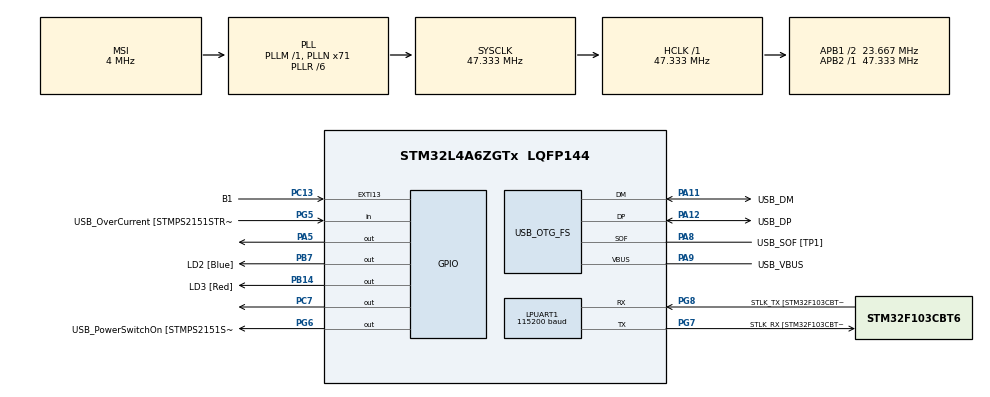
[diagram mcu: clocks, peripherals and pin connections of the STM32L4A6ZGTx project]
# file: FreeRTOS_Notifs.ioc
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Dma.LPUART_RX.0.Direction=DMA_PERIPH_TO_MEMORY
Dma.LPUART_RX.0.Instance=DMA2_Channel7
Dma.LPUART_RX.0.MemDataAlignment=DMA_MDATAALIGN_BYTE
Dma.LPUART_RX.0.MemInc=DMA_MINC_ENABLE
Dma.LPUART_RX.0.Mode=DMA_NORMAL
Dma.LPUART_RX.0.PeriphDataAlignment=DMA_PDATAALIGN_BYTE
Dma.LPUART_RX.0.PeriphInc=DMA_PINC_DISABLE
Dma.LPUART_RX.0.Priority=DMA_PRIORITY_LOW
Dma.LPUART_TX.1.Direction=DMA_MEMORY_TO_PERIPH
Dma.LPUART_TX.1.Instance=DMA2_Channel6
Dma.LPUART_TX.1.MemDataAlignment=DMA_MDATAALIGN_BYTE
Dma.LPUART_TX.1.MemInc=DMA_MINC_ENABLE
Dma.LPUART_TX.1.Mode=DMA_NORMAL
Dma.LPUART_TX.1.PeriphDataAlignment=DMA_PDATAALIGN_BYTE
Dma.LPUART_TX.1.PeriphInc=DMA_PINC_DISABLE
Dma.LPUART_TX.1.Priority=DMA_PRIORITY_LOW
Dma.Request0=LPUART_RX
Dma.Request1=LPUART_TX
FREERTOS.Tasks01=defaultTask,8,128,StartDefaultTask,Default,NULL,Dynamic,NULL,NULL;myTask02,24,128,StartTask02,Default,NULL,Dynamic,NULL,NULL
LPUART1.AutoBaudRateEnableParam=UART_ADVFEATURE_AUTOBAUDRATE_DISABLE
LPUART1.BaudRate=115200
LPUART1.DMADisableonRxErrorParam=UART_ADVFEATURE_DMA_ENABLEONRXERROR
LPUART1.DataInvertParam=UART_ADVFEATURE_DATAINV_DISABLE
LPUART1.MSBFirstParam=UART_ADVFEATURE_MSBFIRST_DISABLE
LPUART1.Mode=UART_MODE_TX_RX
LPUART1.OneBitSampling=UART_ONE_BIT_SAMPLE_DISABLE
LPUART1.OverrunDisableParam=UART_ADVFEATURE_OVERRUN_ENABLE
LPUART1.Parity=UART_PARITY_NONE
LPUART1.RxPinLevelInvertParam=UART_ADVFEATURE_RXINV_DISABLE
LPUART1.StopBits=UART_STOPBITS_2
LPUART1.SwapParam=UART_ADVFEATURE_SWAP_DISABLE
LPUART1.TxPinLevelInvertParam=UART_ADVFEATURE_TXINV_DISABLE
LPUART1.WordLength=UART_WORDLENGTH_8B
Mcu.Family=STM32L4
Mcu.Name=STM32L4A6ZGTx
Mcu.Package=LQFP144
NVIC.DMA2_Channel6_IRQn=true\:5\:0\:false\:false\:true\:true\:false\:true\:true
NVIC.DMA2_Channel7_IRQn=true\:5\:0\:false\:false\:true\:true\:false\:true\:true
NVIC.LPUART1_IRQn=true\:5\:0\:false\:false\:true\:true\:true\:true\:true
NVIC.PriorityGroup=NVIC_PRIORITYGROUP_4
NVIC.TIM6_DAC_IRQn=true\:15\:0\:false\:false\:true\:false\:false\:true\:true
NVIC.TimeBase=TIM6_DAC_IRQn
NVIC.TimeBaseIP=TIM6
PA10.GPIO_Label=USB_ID
PA10.Signal=USB_OTG_FS_ID
PA11.GPIO_Label=USB_DM
PA11.Mode=Device_Only
PA11.Signal=USB_OTG_FS_DM
PA12.GPIO_Label=USB_DP
PA12.Mode=Device_Only
PA12.Signal=USB_OTG_FS_DP
PA13\ (JTMS/SWDIO).GPIO_Label=TMS
PA13\ (JTMS/SWDIO).Mode=Trace_Asynchronous_SW
PA13\ (JTMS/SWDIO).Signal=SYS_JTMS-SWDIO
PA14\ (JTCK/SWCLK).GPIO_Label=TCK
PA14\ (JTCK/SWCLK).Mode=Trace_Asynchronous_SW
PA14\ (JTCK/SWCLK).Signal=SYS_JTCK-SWCLK
PA5.Signal=GPIO_Output
PA8.GPIO_Label=USB_SOF [TP1]
PA8.Mode=Activate_SOF_FS
PA8.Signal=USB_OTG_FS_SOF
PA9.GPIO_Label=USB_VBUS
PA9.Mode=Activate_VBUS
PA9.Signal=USB_OTG_FS_VBUS
PB14.GPIO_Label=LD3 [Red]
PB14.Signal=GPIO_Output
PB3\ (JTDO/TRACESWO).GPIO_Label=SWO
PB3\ (JTDO/TRACESWO).Mode=Trace_Asynchronous_SW
PB3\ (JTDO/TRACESWO).Signal=SYS_JTDO-SWO
PB7.GPIO_Label=LD2 [Blue]
PB7.Signal=GPIO_Output
PC13.GPIO_Label=B1
PC13.GPIO_ModeDefaultEXTI=GPIO_MODE_IT_FALLING
PC13.Signal=GPXTI13
PC14-OSC32_IN\ (PC14).Mode=LSE-External-Oscillator
PC14-OSC32_IN\ (PC14).Signal=RCC_OSC32_IN
PC15-OSC32_OUT\ (PC15).Mode=LSE-External-Oscillator
PC15-OSC32_OUT\ (PC15).Signal=RCC_OSC32_OUT
PC7.Signal=GPIO_Output
PG5.GPIO_Label=USB_OverCurrent [STMPS2151STR_FAULT]
PG5.Signal=GPIO_Input
PG6.GPIO_Label=USB_PowerSwitchOn [STMPS2151STR_EN]
PG6.Signal=GPIO_Output
PG7.GPIO_Label=STLK_RX [STM32F103CBT6_PA3]
PG7.Mode=Asynchronous
PG7.Signal=LPUART1_TX
PG8.GPIO_Label=STLK_TX [STM32F103CBT6_PA2]
PG8.Mode=Asynchronous
PG8.Signal=LPUART1_RX
PH1-OSC_OUT\ (PH1).Signal=RCC_OSC_OUT
ProjectManager.HeapSize=0x200
ProjectManager.StackSize=0x400
ProjectManager.TargetToolchain=STM32CubeIDE
RCC.ADCFreq_Value=48000000
RCC.AHBFreq_Value=47333333.333333336
RCC.APB1CLKDivider=RCC_HCLK_DIV2
RCC.APB1Freq_Value=23666666.666666668
RCC.APB1TimFreq_Value=47333333.333333336
RCC.APB2Freq_Value=47333333.333333336
RCC.APB2TimFreq_Value=47333333.333333336
RCC.CortexFreq_Value=47333333.333333336
RCC.FLatency=FLASH_LATENCY_2
RCC.HCLKFreq_Value=47333333.333333336
RCC.HSE_VALUE=8000000
RCC.HSI48_VALUE=48000000
RCC.HSI_VALUE=16000000
RCC.MSI_VALUE=4000000
RCC.PLLN=71
RCC.PLLR=RCC_PLLR_DIV6
RCC.PLLSAI1N=24
RCC.SYSCLKFreq_VALUE=47333333.333333336
RCC.SYSCLKSource=RCC_SYSCLKSOURCE_PLLCLK
RCC.USBFreq_Value=48000000
RCC.VCOOutputFreq_Value=284000000
USB_OTG_FS.Sof_enable=ENABLE
USB_OTG_FS.VirtualMode=Device_Only
USB_OTG_FS.battery_charging_enable=ENABLE
USB_OTG_FS.low_power_enable=DISABLE
USB_OTG_FS.lpm_enable=DISABLE
USB_OTG_FS.use_dedicated_ep1=DISABLE
USB_OTG_FS.vbus_sensing_enable=ENABLE
VP_FREERTOS_VS_CMSIS_V2.Mode=CMSIS_V2
VP_SYS_VS_tim6.Mode=TIM6
board=NUCLEO-L4A6ZG

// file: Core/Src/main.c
/* USER CODE BEGIN Header */
/**
  ******************************************************************************
  * @file           : main.c
  * @brief          : Main program body
  ******************************************************************************
  * @attention
  *
  * Copyright (c) 2025 STMicroelectronics.
  * All rights reserved.
  *
  * This software is licensed under terms that can be found in the LICENSE file
  * in the root directory of this software component.
  * If no LICENSE file comes with this software, it is provided AS-IS.
  *
  ******************************************************************************
  */
/* USER CODE END Header */
#include "main.h"
#include "cmsis_os.h"
#include "string.h"

UART_HandleTypeDef hlpuart1;
DMA_HandleTypeDef hdma_lpuart_rx;
DMA_HandleTypeDef hdma_lpuart_tx;

PCD_HandleTypeDef hpcd_USB_OTG_FS;

/* Definitions for defaultTask */
osThreadId_t defaultTaskHandle;
const osThreadAttr_t defaultTask_attributes = {
  .name = "defaultTask",
  .stack_size = 128 * 4,
  .priority = (osPriority_t) osPriorityLow,
};
/* Definitions for myTask02 */
osThreadId_t myTask02Handle;
const osThreadAttr_t myTask02_attributes = {
  .name = "myTask02",
  .stack_size = 128 * 4,
  .priority = (osPriority_t) osPriorityNormal,
};

void SystemClock_Config(void);
static void MX_GPIO_Init(void);
static void MX_DMA_Init(void);
static void MX_LPUART1_UART_Init(void);
static void MX_USB_OTG_FS_PCD_Init(void);
void StartDefaultTask(void *argument);
void StartTask02(void *argument);

/* USER CODE BEGIN 0 */
/**
  * @brief f toggle Function to alternate blinking between PB7
  * 	   and PB14 when f key is pressed on Tera Term.
  * @param None
  * @retval None
  */
void ftoggle()
{
	char txBuff[] = "\nExited\n";
	HAL_GPIO_WritePin(GPIOB, GPIO_PIN_7, GPIO_PIN_SET);
	HAL_GPIO_WritePin(GPIOB, GPIO_PIN_14, GPIO_PIN_RESET);
	HAL_Delay(500);
	HAL_GPIO_WritePin(GPIOB, GPIO_PIN_7, GPIO_PIN_RESET);
	HAL_GPIO_WritePin(GPIOB, GPIO_PIN_14, GPIO_PIN_SET);
	HAL_Delay(500);
	if(HAL_GPIO_ReadPin(GPIOC, GPIO_PIN_13) != 0)
	{
		HAL_GPIO_WritePin(GPIOB, GPIO_PIN_7, GPIO_PIN_RESET);
		HAL_GPIO_WritePin(GPIOB, GPIO_PIN_14, GPIO_PIN_RESET);
		HAL_UART_Transmit(&hlpuart1, (char *)txBuff, strlen(txBuff), HAL_MAX_DELAY);
	}
}
/**
  * @brief any other toggle Function to blink the led at
  * 	   PC7 when any other button is pressed on Tera Term
  * 	   besides the indicated ones.
  * @param None
  * @retval None
  */
void anyothertoggle()
{
	HAL_GPIO_WritePin(GPIOC, GPIO_PIN_7, GPIO_PIN_SET);
	HAL_Delay(500);
	HAL_GPIO_WritePin(GPIOC, GPIO_PIN_7, GPIO_PIN_RESET);
	HAL_Delay(500);
}
/* USER CODE END 0 */

int main(void)
{

  /* MCU Configuration--------------------------------------------------------*/

  /* Reset of all peripherals, Initializes the Flash interface and the Systick. */
  HAL_Init();

  /* Configure the system clock */
  SystemClock_Config();

  /* Initialize all configured peripherals */
  MX_GPIO_Init();
  MX_DMA_Init();
  MX_LPUART1_UART_Init();
  MX_USB_OTG_FS_PCD_Init();

  /* Init scheduler */
  osKernelInitialize();

  /* Create the thread(s) */
  /* creation of defaultTask */
  defaultTaskHandle = osThreadNew(StartDefaultTask, NULL, &defaultTask_attributes);

  /* creation of myTask02 */
  myTask02Handle = osThreadNew(StartTask02, NULL, &myTask02_attributes);

  /* Start scheduler */
  osKernelStart();

  /* We should never get here as control is now taken by the scheduler */

  /* Infinite loop */
  while (1)
  {

  }
}

void SystemClock_Config(void)
{
  RCC_OscInitTypeDef RCC_OscInitStruct = {0};
  RCC_ClkInitTypeDef RCC_ClkInitStruct = {0};

  /** Configure the main internal regulator output voltage
  */
  if (HAL_PWREx_ControlVoltageScaling(PWR_REGULATOR_VOLTAGE_SCALE1) != HAL_OK)
  {
    Error_Handler();
  }

  /** Configure LSE Drive Capability
  */
  HAL_PWR_EnableBkUpAccess();
  __HAL_RCC_LSEDRIVE_CONFIG(RCC_LSEDRIVE_LOW);

  /** Initializes the RCC Oscillators according to the specified parameters
  * in the RCC_OscInitTypeDef structure.
  */
  RCC_OscInitStruct.OscillatorType = RCC_OSCILLATORTYPE_LSE|RCC_OSCILLATORTYPE_MSI;
  RCC_OscInitStruct.LSEState = RCC_LSE_ON;
  RCC_OscInitStruct.MSIState = RCC_MSI_ON;
  RCC_OscInitStruct.MSICalibrationValue = 0;
  RCC_OscInitStruct.MSIClockRange = RCC_MSIRANGE_6;
  RCC_OscInitStruct.PLL.PLLState = RCC_PLL_ON;
  RCC_OscInitStruct.PLL.PLLSource = RCC_PLLSOURCE_MSI;
  RCC_OscInitStruct.PLL.PLLM = 1;
  RCC_OscInitStruct.PLL.PLLN = 71;
  RCC_OscInitStruct.PLL.PLLP = RCC_PLLP_DIV2;
  RCC_OscInitStruct.PLL.PLLQ = RCC_PLLQ_DIV2;
  RCC_OscInitStruct.PLL.PLLR = RCC_PLLR_DIV6;
  if (HAL_RCC_OscConfig(&RCC_OscInitStruct) != HAL_OK)
  {
    Error_Handler();
  }

  /** Initializes the CPU, AHB and APB buses clocks
  */
  RCC_ClkInitStruct.ClockType = RCC_CLOCKTYPE_HCLK|RCC_CLOCKTYPE_SYSCLK
                              |RCC_CLOCKTYPE_PCLK1|RCC_CLOCKTYPE_PCLK2;
  RCC_ClkInitStruct.SYSCLKSource = RCC_SYSCLKSOURCE_PLLCLK;
  RCC_ClkInitStruct.AHBCLKDivider = RCC_SYSCLK_DIV1;
  RCC_ClkInitStruct.APB1CLKDivider = RCC_HCLK_DIV2;
  RCC_ClkInitStruct.APB2CLKDivider = RCC_HCLK_DIV1;

  if (HAL_RCC_ClockConfig(&RCC_ClkInitStruct, FLASH_LATENCY_2) != HAL_OK)
  {
    Error_Handler();
  }

  /** Enable MSI Auto calibration
  */
  HAL_RCCEx_EnableMSIPLLMode();
}

static void MX_LPUART1_UART_Init(void)
{

  hlpuart1.Instance = LPUART1;
  hlpuart1.Init.BaudRate = 115200;
  hlpuart1.Init.WordLength = UART_WORDLENGTH_8B;
  hlpuart1.Init.StopBits = UART_STOPBITS_2;
  hlpuart1.Init.Parity = UART_PARITY_NONE;
  hlpuart1.Init.Mode = UART_MODE_TX_RX;
  hlpuart1.Init.HwFlowCtl = UART_HWCONTROL_NONE;
  hlpuart1.Init.OneBitSampling = UART_ONE_BIT_SAMPLE_DISABLE;
  hlpuart1.AdvancedInit.AdvFeatureInit = UART_ADVFEATURE_NO_INIT;
  if (HAL_UART_Init(&hlpuart1) != HAL_OK)
  {
    Error_Handler();
  }

}

static void MX_USB_OTG_FS_PCD_Init(void)
{

  hpcd_USB_OTG_FS.Instance = USB_OTG_FS;
  hpcd_USB_OTG_FS.Init.dev_endpoints = 6;
  hpcd_USB_OTG_FS.Init.speed = PCD_SPEED_FULL;
  hpcd_USB_OTG_FS.Init.phy_itface = PCD_PHY_EMBEDDED;
  hpcd_USB_OTG_FS.Init.Sof_enable = ENABLE;
  hpcd_USB_OTG_FS.Init.low_power_enable = DISABLE;
  hpcd_USB_OTG_FS.Init.lpm_enable = DISABLE;
  hpcd_USB_OTG_FS.Init.battery_charging_enable = ENABLE;
  hpcd_USB_OTG_FS.Init.use_dedicated_ep1 = DISABLE;
  hpcd_USB_OTG_FS.Init.vbus_sensing_enable = ENABLE;
  if (HAL_PCD_Init(&hpcd_USB_OTG_FS) != HAL_OK)
  {
    Error_Handler();
  }

}

static void MX_DMA_Init(void)
{

  /* DMA controller clock enable */
  __HAL_RCC_DMA2_CLK_ENABLE();

  /* DMA interrupt init */
  /* DMA2_Channel6_IRQn interrupt configuration */
  HAL_NVIC_SetPriority(DMA2_Channel6_IRQn, 5, 0);
  HAL_NVIC_EnableIRQ(DMA2_Channel6_IRQn);
  /* DMA2_Channel7_IRQn interrupt configuration */
  HAL_NVIC_SetPriority(DMA2_Channel7_IRQn, 5, 0);
  HAL_NVIC_EnableIRQ(DMA2_Channel7_IRQn);

}

static void MX_GPIO_Init(void)
{
  GPIO_InitTypeDef GPIO_InitStruct = {0};

  /* GPIO Ports Clock Enable */
  __HAL_RCC_GPIOC_CLK_ENABLE();
  __HAL_RCC_GPIOH_CLK_ENABLE();
  __HAL_RCC_GPIOA_CLK_ENABLE();
  __HAL_RCC_GPIOB_CLK_ENABLE();
  __HAL_RCC_GPIOG_CLK_ENABLE();
  HAL_PWREx_EnableVddIO2();

  /*Configure GPIO pin Output Level */
  HAL_GPIO_WritePin(GPIOA, GPIO_PIN_5, GPIO_PIN_RESET);

  /*Configure GPIO pin Output Level */
  HAL_GPIO_WritePin(GPIOB, LD3_Pin|LD2_Pin, GPIO_PIN_RESET);

  /*Configure GPIO pin Output Level */
  HAL_GPIO_WritePin(USB_PowerSwitchOn_GPIO_Port, USB_PowerSwitchOn_Pin, GPIO_PIN_RESET);

  /*Configure GPIO pin Output Level */
  HAL_GPIO_WritePin(GPIOC, GPIO_PIN_7, GPIO_PIN_RESET);

  /*Configure GPIO pin : B1_Pin */
  GPIO_InitStruct.Pin = B1_Pin;
  GPIO_InitStruct.Mode = GPIO_MODE_IT_FALLING;
  GPIO_InitStruct.Pull = GPIO_NOPULL;
  HAL_GPIO_Init(B1_GPIO_Port, &GPIO_InitStruct);

  /*Configure GPIO pin : PA5 */
  GPIO_InitStruct.Pin = GPIO_PIN_5;
  GPIO_InitStruct.Mode = GPIO_MODE_OUTPUT_PP;
  GPIO_InitStruct.Pull = GPIO_NOPULL;
  GPIO_InitStruct.Speed = GPIO_SPEED_FREQ_LOW;
  HAL_GPIO_Init(GPIOA, &GPIO_InitStruct);

  /*Configure GPIO pins : LD3_Pin LD2_Pin */
  GPIO_InitStruct.Pin = LD3_Pin|LD2_Pin;
  GPIO_InitStruct.Mode = GPIO_MODE_OUTPUT_PP;
  GPIO_InitStruct.Pull = GPIO_NOPULL;
  GPIO_InitStruct.Speed = GPIO_SPEED_FREQ_LOW;
  HAL_GPIO_Init(GPIOB, &GPIO_InitStruct);

  /*Configure GPIO pin : USB_OverCurrent_Pin */
  GPIO_InitStruct.Pin = USB_OverCurrent_Pin;
  GPIO_InitStruct.Mode = GPIO_MODE_INPUT;
  GPIO_InitStruct.Pull = GPIO_NOPULL;
  HAL_GPIO_Init(USB_OverCurrent_GPIO_Port, &GPIO_InitStruct);

  /*Configure GPIO pin : USB_PowerSwitchOn_Pin */
  GPIO_InitStruct.Pin = USB_PowerSwitchOn_Pin;
  GPIO_InitStruct.Mode = GPIO_MODE_OUTPUT_PP;
  GPIO_InitStruct.Pull = GPIO_NOPULL;
  GPIO_InitStruct.Speed = GPIO_SPEED_FREQ_LOW;
  HAL_GPIO_Init(USB_PowerSwitchOn_GPIO_Port, &GPIO_InitStruct);

  /*Configure GPIO pin : PC7 */
  GPIO_InitStruct.Pin = GPIO_PIN_7;
  GPIO_InitStruct.Mode = GPIO_MODE_OUTPUT_PP;
  GPIO_InitStruct.Pull = GPIO_NOPULL;
  GPIO_InitStruct.Speed = GPIO_SPEED_FREQ_LOW;
  HAL_GPIO_Init(GPIOC, &GPIO_InitStruct);

}

/* USER CODE BEGIN Header_StartDefaultTask */
/**
  * @brief  Function implementing the defaultTask thread and blink leds.
  * @param  argument: Not used
  * @retval None
  */
/* USER CODE END Header_StartDefaultTask */
void StartDefaultTask(void *argument)
{
  /* USER CODE BEGIN 5 */
	/* Infinite loop */
	real:
	uint8_t ch;
	for (;;) {
		HAL_UART_Receive(&hlpuart1, &ch, 1, HAL_MAX_DELAY);
		if (ch == 'f')
		{
			xTaskNotify(myTask02Handle, 0 , 0);
		}
		else
		{
			while(1)
			{
				anyothertoggle();
				if(HAL_GPIO_ReadPin(GPIOC, GPIO_PIN_13) != 0)
				{
					goto real;
				}
			}
		}
	}
  /* USER CODE END 5 */
}

/* USER CODE BEGIN Header_StartTask02 */
/**
* @brief Function implementing the myTask02 thread and blink leds.
* @param argument: Not used
* @retval None
*/
/* USER CODE END Header_StartTask02 */
void StartTask02(void *argument) {
	/* USER CODE BEGIN StartTask02 */
	/* Infinite loop */
	end:
	for (;;)
	{
		ulTaskNotifyTake(pdTRUE, portMAX_DELAY);
		while (1)
		{
			ftoggle();
			if (HAL_GPIO_ReadPin(GPIOC, GPIO_PIN_13) != 0)
			{
				goto end;
			}
		}
	}
	/* USER CODE END StartTask02 */
}

void HAL_TIM_PeriodElapsedCallback(TIM_HandleTypeDef *htim)
{
  if (htim->Instance == TIM6)
  {
    HAL_IncTick();
  }
}

void Error_Handler(void)
{
  __disable_irq();
  while (1)
  {
  }
}
